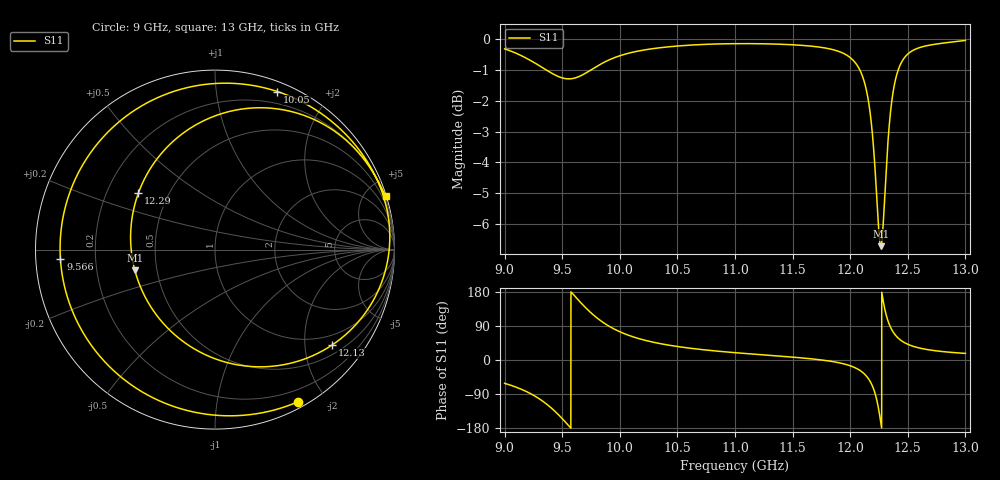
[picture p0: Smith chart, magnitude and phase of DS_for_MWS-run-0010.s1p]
! TOUCHSTONE file generated by CST DESIGN STUDIO
! Date and time: Tue Feb  4 16:20:49 2025
! Project name: C:\Work\MatlabApps\UnitCellOptimizationMatlab\CST\unitcell.cst
! Tree item: Tasks\Sweep1\SPara1\S-Parameters
! Header version: 2024
! Port assignment regex: !\s*Touchstone port\s*([0-9]+)\s*=\s*(CST MWS port|CST DES external port|CST DES block port)\s*(.+)\s* \(\"(.*)\"\)(\s*mode\s*([0-9]+))?.*
! Touchstone port assignment:
! Touchstone port 1 = CST DES external port 1 ("")
# GHz S MA R 50
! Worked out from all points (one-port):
!   4001 points, 9 GHz to 13 GHz, reference 50 ohm
!   lowest |S11| = -6.7 dB at 12.27 GHz (marker M1), VSWR 2.71, Z = 18.7 - j5.49 ohm
!   |S11| at or under -10 dB: nowhere
!   S11 on the Smith chart (normalised r, x): 9 GHz: 0.07, -1.68; 9.566 GHz: 0.07, -0.03; 10.05 GHz: 0.09, +1.47; 12.13 GHz: 0.72, -2.64; 12.29 GHz: 0.34, +0.29; 13 GHz: 0.08, +6.55
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9  0.9655 -61.5
9.153  0.9396 -78.2
9.304  0.9059 -103.0
9.405  0.8822 -126.6
9.5  0.8659 -154.6
9.566  0.8628 -176.6
9.655  0.8719 153.3
9.77  0.8971 119.1
9.87  0.9193 96.1
10  0.9408 74.6
10.048  0.9467 68.5
10.243  0.9635 50.2
10.5  0.9757 35.6
11  0.9844 19.3
11.5  0.9803 7.6
12  0.9344 -15.2
12.131  0.8417 -39.1
12.172  0.7627 -55.9
12.211  0.6349 -83.4
12.238  0.5236 -115.7
12.266  0.4612 -165.5
12.294  0.5303 143.7
12.326  0.6742 105.0
12.36  0.7911 80.5
12.421  0.8967 56.6
12.5  0.9469 41.5
12.668  0.9772 27.6
13  0.9963 17.4
